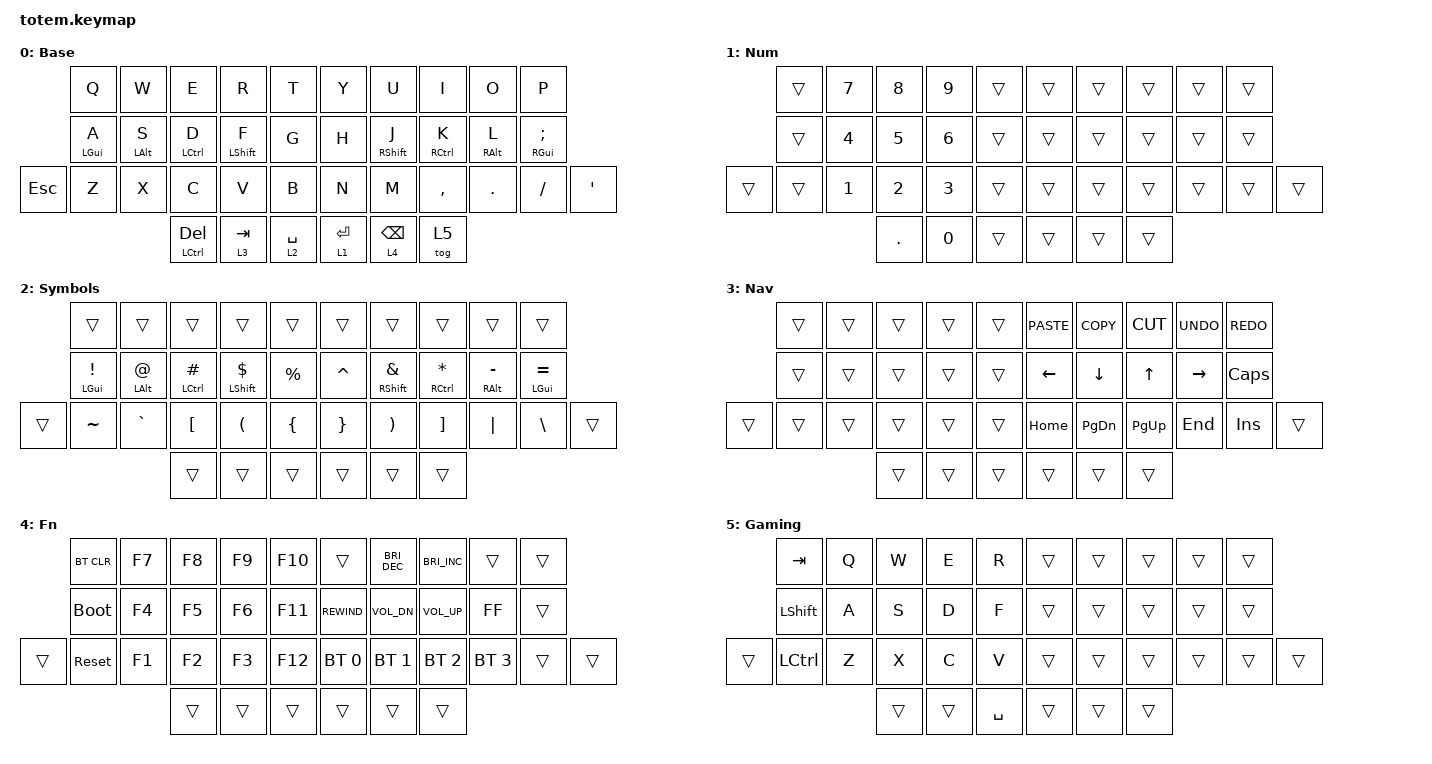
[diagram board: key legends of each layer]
//
//                                                        ▀▀▀▀▀     ▀▀▀▀▀          ▀▀█▀▀
//                                                        ▄▀▀▀▄  ▄  ▄▀▀▀▄  ▄  ▄▀▀▀▄  █  ▄▀▀▀▄
//                                                        █   █  █  █   █  █  █   █  █  █   █
//                                                         ▀▀▀   █   ▀▀▀   █   ▀▀▀   ▀   ▀▀▀
//                                                               █      ▄▄▄█▄▄▄    █   █  
//                                                               ▀      █  █  █     █▄█
//                                                             ▀▀▀▀▀    █  █  █      ▀
//                                                                      ▀  ▀  ▀
//
// ▄▄▄▄▄▄▄▄▄▄▄▄▄▄▄▄▄▄▄▄▄▄▄▄▄▄▄▄▄▄▄▄▄▄▄▄▄▄▄▄▄▄▄▄▄▄▄▄▄▄▄▄▄▄▄▄▄▄▄▄▄▄▄▄▄▄▄▄▄▄▄▄▄▄▄▄▄▄▄▄▄▄▄▄▄▄▄▄▄▄▄▄▄▄▄▄▄▄▄▄▄▄▄▄▄▄▄▄▄▄▄▄▄▄▄▄▄▄▄▄▄▄▄▄▄▄▄▄▄▄▄▄▄▄▄▄▄▄▄▄▄▄▄▄▄▄▄▄▄

#include "zmk-helpers/helper.h"
#include "zmk-helpers/key-labels/totem.h"
#include <behaviors.dtsi>
#include <dt-bindings/zmk/bt.h>
#include <dt-bindings/zmk/keys.h>

#define Base        0
#define Numpad      1
#define Symbols     2
#define Nav         3
#define Media       4
#define Functions   5
#define KEYS_L LT0 LT1 LT2 LT3 LT4 LM0 LM1 LM2 LM3 LM4 LB0 LB1 LB2 LB3 LB4 LB5 // Left-hand keys.
#define KEYS_R RT0 RT1 RT2 RT3 RT4 RM0 RM1 RM2 RM3 RM4 RB0 RB1 RB2 RB3 RB4 RB5 // Right-hand keys.
#define THUMBS LH2 LH1 LH0 RH0 RH1 RH2

&mt {
    quick-tap-ms = <100>;
    global-quick-tap;
    flavor = "tap-preferred";
    tapping-term-ms = <170>;
};

&lt {
    flavor = "balanced";
    tapping-term-ms = <200>;
    quick-tap-ms = <175>;
};

/ {
    behaviors {
        hml: home_row_mod_left {
            compatible = "zmk,behavior-hold-tap";
            #binding-cells = <2>;
            flavor = "balanced";
            require-prior-idle-ms = <150>;
            tapping-term-ms = <280>;
            quick-tap-ms = <175>;
            bindings = <&kp>, <&kp>;

            hold-trigger-key-positions = <KEYS_R THUMBS>; // List of keys on the right side of the keyboard
            hold-trigger-on-release;
        };

        hmr: home_row_mod_right {
            compatible = "zmk,behavior-hold-tap";
            #binding-cells = <2>;
            flavor = "balanced";
            require-prior-idle-ms = <150>;
            tapping-term-ms = <280>;
            quick-tap-ms = <175>;
            bindings = <&kp>, <&kp>;

            hold-trigger-key-positions = <KEYS_L THUMBS>; // List of keys on the left side of the keyboard
            hold-trigger-on-release;
        };
    };

    combos { compatible = "zmk,combos"; };

    keymap {
        compatible = "zmk,keymap";

        Base {
            display-name = "Base";
            bindings = <
            &kp Q        &kp W        &kp E             &kp R          &kp T          &kp Y         &kp U            &kp I         &kp O        &kp P
            &hml LGUI A  &hml LALT S  &hml LCTRL D      &hml LSHIFT F  &kp G          &kp H         &hmr RSHFT J     &hmr RCTRL K  &hmr RALT L  &hmr RGUI SEMICOLON
&kp ESCAPE  &kp Z        &kp X        &kp C             &kp V          &kp B          &kp N         &kp M            &kp COMMA     &kp DOT      &kp SLASH            &kp APOSTROPHE
                                      &mt LCTRL DELETE  &lt 3 TAB      &lt 2 SPACE    &lt 1 RETURN  &lt 4 BACKSPACE  &tog 5
            >;
        };

        Num {
            bindings = <
        &trans  &kp N7  &kp N8   &kp N9  &trans    &trans  &trans  &trans  &trans  &trans
        &trans  &kp N4  &kp N5   &kp N6  &trans    &trans  &trans  &trans  &trans  &trans
&trans  &trans  &kp N1  &kp N2   &kp N3  &trans    &trans  &trans  &trans  &trans  &trans  &trans
                        &kp DOT  &kp N0  &trans    &trans  &trans  &trans
            >;

            label = "Num";
        };

        Symbols {
            display-name = "Symbols";
            bindings = <
        &trans                 &trans             &trans                  &trans                &trans            &trans           &trans                      &trans                       &trans                &trans
        &hml LGUI EXCLAMATION  &hml LALT AT_SIGN  &hml LEFT_CONTROL HASH  &hml LSHFT DOLLAR     &kp PERCENT       &kp CARET        &hmr RIGHT_SHIFT AMPERSAND  &hmr RIGHT_CONTROL ASTERISK  &hmr RIGHT_ALT MINUS  &hmr LEFT_GUI EQUAL
&trans  &kp TILDE              &kp GRAVE          &kp LEFT_BRACKET        &kp LEFT_PARENTHESIS  &kp LEFT_BRACE    &kp RIGHT_BRACE  &kp RIGHT_PARENTHESIS       &kp RIGHT_BRACKET            &kp PIPE              &kp BACKSLASH        &trans
                                                  &trans                  &trans                &trans            &trans           &trans                      &trans
            >;
        };

        Nav {
            display-name = "Nav";
            bindings = <
        &trans  &trans  &trans  &trans  &trans    &kp K_PASTE  &kp K_COPY      &kp K_CUT     &kp K_UNDO  &kp K_REDO
        &trans  &trans  &trans  &trans  &trans    &kp LEFT     &kp DOWN_ARROW  &kp UP_ARROW  &kp RIGHT   &kp CAPS
&trans  &trans  &trans  &trans  &trans  &trans    &kp HOME     &kp PG_DN       &kp PG_UP     &kp END     &kp INS     &trans
                        &trans  &trans  &trans    &trans       &trans          &trans
            >;
        };

        Fn {
            bindings = <
        &bt BT_CLR   &kp F7  &kp F8  &kp F9  &kp F10    &trans        &kp C_BRIGHTNESS_DEC  &kp C_BRIGHTNESS_INC  &trans        &trans
        &bootloader  &kp F4  &kp F5  &kp F6  &kp F11    &kp C_REWIND  &kp C_VOL_DN          &kp C_VOL_UP          &kp C_FF      &trans
&trans  &sys_reset   &kp F1  &kp F2  &kp F3  &kp F12    &bt BT_SEL 0  &bt BT_SEL 1          &bt BT_SEL 2          &bt BT_SEL 3  &trans  &trans
                             &trans  &trans  &trans     &trans        &trans                &trans
            >;

            label = "Fn";
        };

        Gaming {
            bindings = <
        &kp TAB           &kp Q  &kp W   &kp E   &kp R        &trans  &trans  &trans  &trans  &trans
        &kp LEFT_SHIFT    &kp A  &kp S   &kp D   &kp F        &trans  &trans  &trans  &trans  &trans
&trans  &kp LEFT_CONTROL  &kp Z  &kp X   &kp C   &kp V        &trans  &trans  &trans  &trans  &trans  &trans
                                 &trans  &trans  &kp SPACE    &trans  &trans  &trans
            >;

            label = "Gaming";
        };
    };
};
